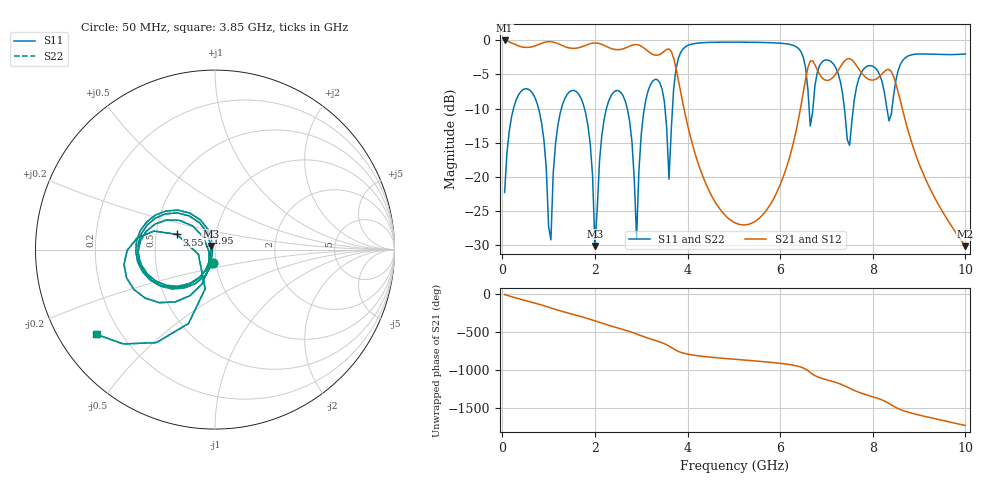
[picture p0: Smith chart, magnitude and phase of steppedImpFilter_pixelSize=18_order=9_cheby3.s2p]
! freq	dB(S11)	phase(S11)	dB(S12)	phase(S12)
!  dB(S21)	phase(S21)	dB(S22)	phase(S22)
!S-par simulation data
#  GHz  S  DB  R 50
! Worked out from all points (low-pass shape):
!   200 points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, 50 MHz to 10 GHz, reference 50 ohm
!   highest |S21| = -0.04 dB at 50 MHz (marker M1); lowest = -30.1 dB at 10 GHz (marker M2)
!   |S21| within 3 dB of the highest: start of sweep to 3.715 GHz; 7.391 GHz to 7.57 GHz (178.9 MHz wide, 2.39 % of centre) (the widest 2 of 3)
!   lowest |S11| = -30.1 dB at 2 GHz (marker M3), VSWR 1.06, Z = 47.7 + j1.97 ohm
!   |S11| at or under -10 dB: 782.7 MHz to 1.277 GHz (494.2 MHz wide, 48 % of centre); 1.774 GHz to 2.249 GHz (474.5 MHz wide, 23.6 % of centre); 2.7 GHz to 3.068 GHz (368 MHz wide, 12.8 % of centre) (the widest 3 of 8)
!   |S22| runs from -30.1 to -0.3 dB; largest |S21 - S12| = 0
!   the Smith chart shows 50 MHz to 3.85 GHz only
!   S11 on the Smith chart (normalised r, x): 50 MHz: 0.96, -0.15; 1.95 GHz: 0.90, +0.17; 3.55 GHz: 0.64, +0.11; 3.85 GHz: 0.11, -0.32
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0.05  -22.28 -100.1  -0.04 -10.0  -0.04 -10.0  -22.28 -100.1
0.6  -7.34 165.9  -1.02 -104.1  -1.02 -104.1  -7.34 165.9
1  -27.27 108.5  -0.22 -175.6  -0.22 -175.6  -27.25 108.8
1.3  -9.42 -144.0  -0.80 127.6  -0.80 127.6  -9.42 -144.0
1.75  -9.38 144.1  -0.88 52.6  -0.88 52.6  -9.39 144.0
1.95  -19.88 114.8  -0.43 14.6  -0.43 14.6  -19.89 114.7
2  -30.10 138.7  -0.41 4.5  -0.41 4.5  -30.14 138.4
2.45  -7.39 -170.7  -1.38 -80.0  -1.38 -80.0  -7.39 -170.6
2.9  -28.99 -160.8  -0.64 -167.5  -0.64 -167.5  -28.95 -160.8
3.05  -10.70 -118.4  -1.10 158.4  -1.10 158.4  -10.70 -118.5
3.4  -6.20 -179.4  -2.09 88.8  -2.09 88.8  -6.20 -179.5
3.55  -12.82 158.4  -1.35 50.7  -1.35 50.7  -12.84 158.1
3.85  -1.81 -144.4  -7.52 -46.8  -7.52 -46.8  -1.81 -144.4
5.05  -0.29 128.6  -26.78 -140.5  -26.78 -140.5  -0.29 128.6
6.45  -1.68 38.8  -9.58 118.1  -9.58 118.1  -1.69 38.8
6.7  -10.58 75.1  -3.02 26.3  -3.02 26.3  -10.61 75.3
7.25  -4.84 8.3  -4.44 -92.3  -4.44 -92.3  -4.83 8.4
7.55  -11.76 61.2  -2.89 -173.8  -2.89 -173.8  -11.75 61.1
7.95  -3.72 11.6  -5.81 99.6  -5.81 99.6  -3.72 11.6
8.35  -11.81 -13.7  -4.28 1.9  -4.28 1.9  -11.81 -13.6
9.2  -2.04 -89.4  -21.20 -178.6  -21.20 -178.6  -2.04 -89.3
10  -2.02 -176.8  -30.13 73.2  -30.13 73.2  -2.02 -176.7
